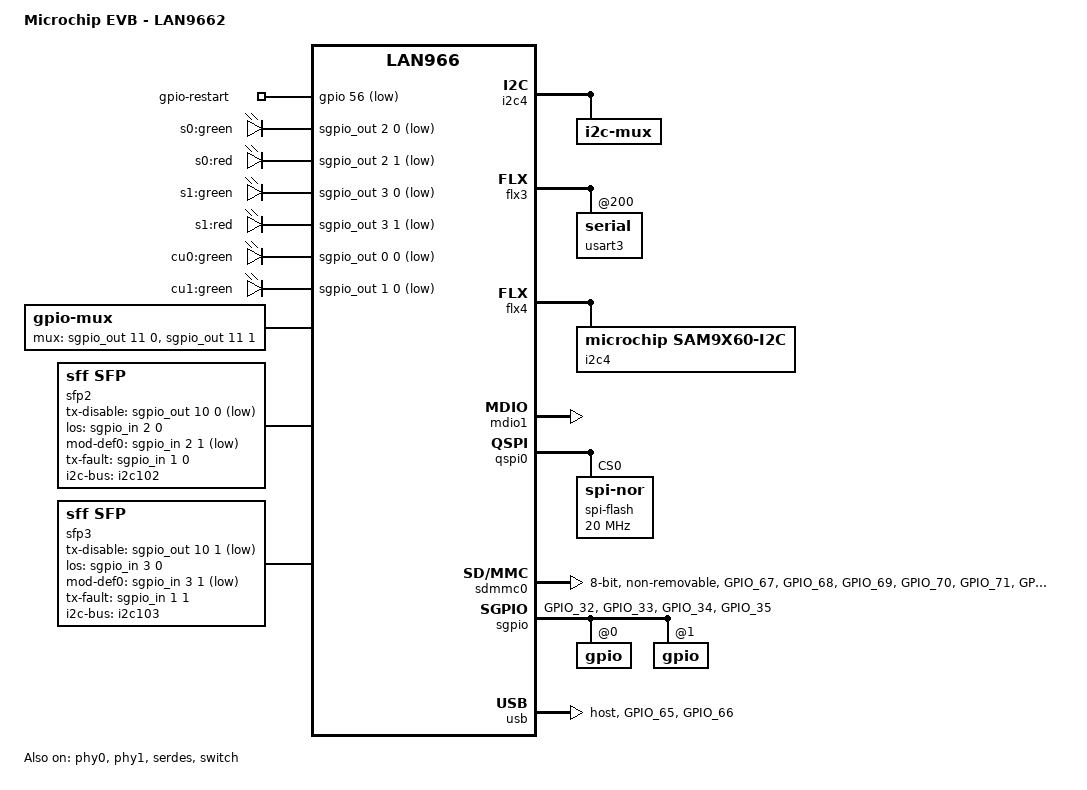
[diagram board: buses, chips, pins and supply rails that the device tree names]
// SPDX-License-Identifier: (GPL-2.0+ OR MIT)
/*
 * lan966x_pcb8309.dts - Device Tree file for PCB8309
 */
/dts-v1/;
#include "lan966x.dtsi"
#include "lan966x-port-delay-pcb8309.dtsi"
#include "dt-bindings/phy/phy-lan966x-serdes.h"

/ {
	model = "Microchip EVB - LAN9662";
	compatible = "microchip,lan9662-pcb8309", "microchip,lan9662", "microchip,lan966";

	aliases {
		serial0 = &usart3;
		i2c102 = &i2c102;
		i2c103 = &i2c103;
	};

	chosen {
		stdout-path = "serial0:115200n8";
	};

	gpio-restart {
		compatible = "gpio-restart";
		gpios = <&gpio 56 GPIO_ACTIVE_LOW>;
		priority = <200>;
	};

	i2c-mux {
		compatible = "i2c-mux";
		#address-cells = <1>;
		#size-cells = <0>;
		mux-controls = <&mux>;
		i2c-parent = <&i2c4>;

		i2c102: i2c-sfp@1 {
			reg = <1>;
		};

		i2c103: i2c-sfp@2 {
			reg = <2>;
		};
	};

	leds {
		compatible = "gpio-leds";

		led-s0-green {
			label = "s0:green";
			gpios = <&sgpio_out 2 0 GPIO_ACTIVE_LOW>;
			default-state = "off";
		};

		led-s0-red {
			label = "s0:red";
			gpios = <&sgpio_out 2 1 GPIO_ACTIVE_LOW>;
			default-state = "off";
		};

		led-s1-green {
			label = "s1:green";
			gpios = <&sgpio_out 3 0 GPIO_ACTIVE_LOW>;
			default-state = "off";
		};

		led-s1-red {
			label = "s1:red";
			gpios = <&sgpio_out 3 1 GPIO_ACTIVE_LOW>;
			default-state = "off";
		};

		led-p1-green {
			label = "cu0:green";
			gpios = <&sgpio_out 0 0 GPIO_ACTIVE_LOW>;
			default-state = "off";
			linux,default-trigger = "e200413c.mdio-mii:01:link";
		};

		led-p2-green {
			label = "cu1:green";
			gpios = <&sgpio_out 1 0 GPIO_ACTIVE_LOW>;
			default-state = "off";
			linux,default-trigger = "e200413c.mdio-mii:02:link";
		};
	};

	mux: mux-controller {
		compatible = "gpio-mux";
		#mux-control-cells = <0>;

		mux-gpios = <&sgpio_out 11 0 GPIO_ACTIVE_HIGH>, /* p11b0 */
			    <&sgpio_out 11 1 GPIO_ACTIVE_HIGH>; /* p11b1 */
	};

	sfp2: sfp2 {
		compatible = "sff,sfp";
		i2c-bus = <&i2c102>;
		tx-disable-gpios = <&sgpio_out 10 0 GPIO_ACTIVE_LOW>;
		los-gpios = <&sgpio_in  2 0 GPIO_ACTIVE_HIGH>;
		mod-def0-gpios = <&sgpio_in  2 1 GPIO_ACTIVE_LOW>;
		tx-fault-gpios = <&sgpio_in  1 0 GPIO_ACTIVE_HIGH>;
	};

	sfp3: sfp3 {
		compatible = "sff,sfp";
		i2c-bus = <&i2c103>;
		tx-disable-gpios = <&sgpio_out 10 1 GPIO_ACTIVE_LOW>;
		los-gpios = <&sgpio_in  3 0 GPIO_ACTIVE_HIGH>;
		mod-def0-gpios = <&sgpio_in  3 1 GPIO_ACTIVE_LOW>;
		tx-fault-gpios = <&sgpio_in  1 1 GPIO_ACTIVE_HIGH>;
	};
};

&aes {
	status = "disabled"; /* Reserved by secure OS */
};

&flx3 {
	atmel,flexcom-mode = <ATMEL_FLEXCOM_MODE_USART>;
	status = "okay";

	usart3: serial@200 {
		pinctrl-0 = <&fc3_b_pins>;
		pinctrl-names = "default";
		status = "okay";
	};
};

&flx4 {
	atmel,flexcom-mode = <ATMEL_FLEXCOM_MODE_TWI>;
	status = "okay";

	i2c4: i2c@600 {
		compatible = "microchip,sam9x60-i2c";
		reg = <0x600 0x200>;
		interrupts = <GIC_SPI 52 IRQ_TYPE_LEVEL_HIGH>;
		clocks = <&nic_clk>;
		pinctrl-0 = <&fc4_b_pins>;
		pinctrl-names = "default";
		i2c-analog-filter;
		i2c-digital-filter;
		i2c-digital-filter-width-ns = <35>;
		i2c-sda-hold-time-ns = <1500>;
		status = "okay";
	};
};

&gpio {
	emmc_sd_pins: emmc-sd-pins {
		/* eMMC_SD - CMD, CLK, D0, D1, D2, D3, RSTN */
		pins = "GPIO_67", "GPIO_68", "GPIO_69", "GPIO_70",
			"GPIO_71", "GPIO_72", "GPIO_77";
		function = "emmc_sd";
	};

	emmc_pins: emmc-pins {
		/* eMMC - D4, D5, D6, D7 */
		pins = "GPIO_73", "GPIO_74", "GPIO_75", "GPIO_76";
		function = "emmc";
	};

	fc3_b_pins: fc3-b-pins {
		/* RXD, TXD */
		pins = "GPIO_52", "GPIO_53";
		function = "fc3_b";
	};

	fc4_b_pins: fc4-b-pins {
		/* SCL, SDA */
		pins = "GPIO_57", "GPIO_58";
		function = "fc4_b";
	};

	pps_out_pins: pps-out-pins {
		/* 1pps output */
		pins = "GPIO_38";
		function = "ptpsync_3";
	};

	ptp_ext_pins: ptp-ext-pins {
		/* 1pps input */
		pins = "GPIO_39";
		function = "ptpsync_4";
	};

	sgpio_a_pins: sgpio-a-pins {
		/* SCK, D0, D1, LD */
		pins = "GPIO_32", "GPIO_33", "GPIO_34", "GPIO_35";
		function = "sgpio_a";
	};

	usb_host_a_pins: usb_host_a_pins {
		pins = "GPIO_65", "GPIO_66";
		function = "usb_host_a";
	};
};

&mdio1 {
	status = "okay";
};

&phy0 {
	status = "okay";
};

&phy1 {
	status = "okay";
};

&port0 {
	phy-handle = <&phy0>;
	phy-mode = "gmii";
	phys = <&serdes 0 CU(0)>;
	status = "okay";
};

&port1 {
	phy-handle = <&phy1>;
	phy-mode = "gmii";
	phys = <&serdes 1 CU(1)>;
	status = "okay";
};

&port2 {
	sfp = <&sfp2>;
	managed = "in-band-status";
	phy-mode = "sgmii";
	phys = <&serdes 2 SERDES6G(0)>;
	status = "okay";
};

&port3 {
	sfp = <&sfp3>;
	managed = "in-band-status";
	phy-mode = "sgmii";
	phys = <&serdes 3 SERDES6G(1)>;
	status = "okay";
};

&qspi0 {
	status = "okay";

	spi-flash@0 {
		compatible = "jedec,spi-nor";
		reg = <0>;
		spi-max-frequency = <20000000>;
		#address-cells = <1>;
		#size-cells = <1>;
		spi-tx-bus-width = <4>;
		spi-rx-bus-width = <4>;
		m25p,fast-read;
	};
};

&sdmmc0 {
	bus-width = <8>;
	cap-mmc-highspeed;
	cap-mmc-hw-reset;
	non-removable;
	pinctrl-0 = <&emmc_sd_pins>, <&emmc_pins>;
	pinctrl-names = "default";
	no-1-8-v;
	tx-phase = <0>; /* 180 degrees phase shift */
	status = "okay";
};

&serdes {
	status = "okay";
};

&sgpio {
	pinctrl-0 = <&sgpio_a_pins>;
	pinctrl-names = "default";
	microchip,sgpio-port-ranges = <0 3>, <8 11>;
	status = "okay";

	gpio@0 {
		ngpios = <64>;
	};
	gpio@1 {
		ngpios = <64>;
	};
};

&usb {
	dr_mode = "host";
	pinctrl-0 = <&usb_host_a_pins>;
	pinctrl-names = "default";
	status = "okay";
};

&switch {
	pinctrl-0 = <&pps_out_pins>, <&ptp_ext_pins>;
	pinctrl-names = "default";
	status = "okay";
};
